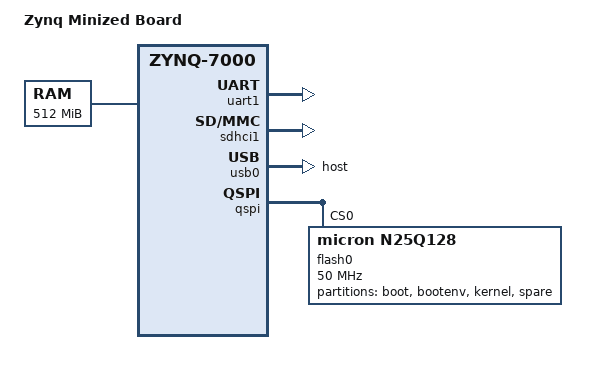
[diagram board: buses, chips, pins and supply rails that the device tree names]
/*
 * Avnet Minized board DTS
 *
 * Copyright (C) 2015 Xilinx, Inc.
 *
 * SPDX-License-Identifier:	GPL-2.0+
 */
/dts-v1/;
#include "zynq-7000.dtsi"

/ {
	model = "Zynq Minized Board";
	compatible = "xlnx,zynq-Minized", "xlnx,zynq-7000";

	chosen {
		stdout-path = "serial0:115200n8";
	};

	cpus {
		cpu@0 {
			operating-points = <666666 1000000 333333 1000000>;
		};
	};

	aliases {
		serial0 = &uart1;
		spi0 = &qspi;
		mmc0 = &sdhci1;
	};

	memory@0 {
		device_type = "memory";
		reg = <0 0x20000000>;
	};

};

&gpio0 {
	emio-gpio-width = <4>;
	gpio-mask-high = <0x0>;
	gpio-mask-low = <0x5600>;
};

&intc {
	num_cpus = <2>;
	num_interrupts = <96>;
};

&uart1 {
	u-boot,dm-pre-reloc;
	status = "okay";
};

&sdhci0 {
	status = "disabled";
};

&sdhci1 {
	status = "okay";
	broken-adma2;
	xlnx,has-cd = <0x1>;
	xlnx,has-power = <0x0>;
	xlnx,has-wp = <0x1>;
};

&usb0 {
	dr_mode = "host";
	phy_type = "ulpi";
	status = "okay";
	usb-reset = <&gpio0 7 0>; /* USB_RST_N-MIO7 */
};

&qspi {
	u-boot,dm-pre-reloc;
	status = "okay";
	#address-cells = <1>;
	#size-cells = <0>;
	flash0: flash@0 {
		compatible = "micron,n25q128";
		reg = <0x0>;
		#address-cells = <1>;
		#size-cells = <1>;
		spi-max-frequency = <50000000>;
		partition@0x00000000 {
			label = "boot";
			reg = <0x00000000 0x00620000>;
		};
		partition@0x00620000 {
			label = "bootenv";
			reg = <0x00620000 0x00020000>;
		};
		partition@0x00640000 {
			label = "kernel";
			reg = <0x00640000 0x00960000>;
		};
		partition@0x00fa0000 {
			label = "spare";
			reg = <0x00fa0000 0x00060000>;
		};
	};
};
